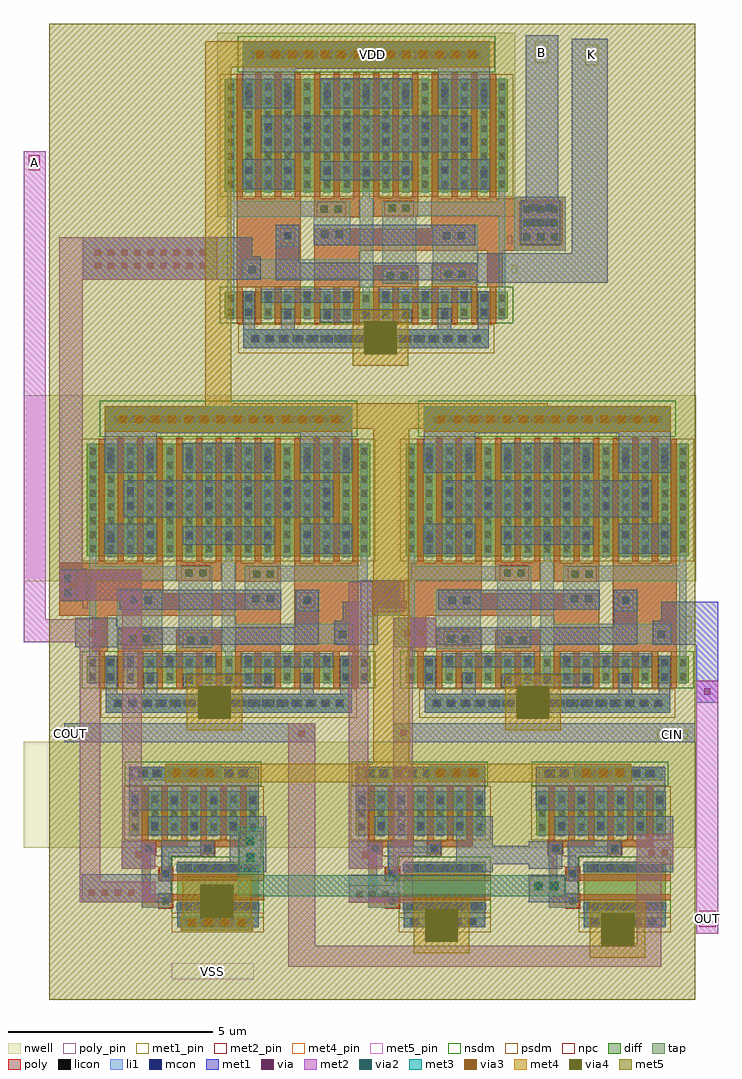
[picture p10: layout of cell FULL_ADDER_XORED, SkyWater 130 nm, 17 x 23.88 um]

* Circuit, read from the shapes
.subckt FULL_ADDER_XORED A B CIN COUT K OUT VDD VSS
XM1 VSS NAND2_5/A n1 VSS sky130_fd_pr__nfet_01v8 w=0.65 l=0.15
XM2 n2 n3 VSS VSS sky130_fd_pr__nfet_01v8 w=0.65 l=0.15 m=3
XM3 NAND2_4/A n1 n2 VSS sky130_fd_pr__nfet_01v8 w=0.65 l=0.15 m=3
XM4 n4 NAND2_5/A VSS VSS sky130_fd_pr__nfet_01v8 w=2 l=0.15
XM5 NAND2_3/B A n4 VSS sky130_fd_pr__nfet_01v8 w=2 l=0.15
XM6 n5 NAND2_5/A NAND2_4/A VSS sky130_fd_pr__nfet_01v8 w=0.65 l=0.15 m=3
XM7 VSS K n6 VSS sky130_fd_pr__nfet_01v8 w=0.65 l=0.15
XM8 n7 K VSS VSS sky130_fd_pr__nfet_01v8 w=0.65 l=0.15 m=3
XM9 VSS A n5 VSS sky130_fd_pr__nfet_01v8 w=0.65 l=0.15 m=3
XM10 NAND2_5/A B n7 VSS sky130_fd_pr__nfet_01v8 w=0.65 l=0.15 m=3
XM11 n3 A VSS VSS sky130_fd_pr__nfet_01v8 w=0.65 l=0.15
XM12 n8 n9 NAND2_5/A VSS sky130_fd_pr__nfet_01v8 w=0.65 l=0.15 m=3
XM13 n10 NAND2_4/A VSS VSS sky130_fd_pr__nfet_01v8 w=2 l=0.15
XM14 NAND2_3/A CIN n10 VSS sky130_fd_pr__nfet_01v8 w=2 l=0.15
XM15 VSS NAND2_4/A n11 VSS sky130_fd_pr__nfet_01v8 w=0.65 l=0.15
XM16 VSS n6 n8 VSS sky130_fd_pr__nfet_01v8 w=0.65 l=0.15 m=3
XM17 n12 n13 VSS VSS sky130_fd_pr__nfet_01v8 w=0.65 l=0.15 m=3
XM18 n9 B VSS VSS sky130_fd_pr__nfet_01v8 w=0.65 l=0.15
XM19 OUT n11 n12 VSS sky130_fd_pr__nfet_01v8 w=0.65 l=0.15 m=3
XM20 n14 NAND2_4/A OUT VSS sky130_fd_pr__nfet_01v8 w=0.65 l=0.15 m=3
XM21 n15 NAND2_3/A VSS VSS sky130_fd_pr__nfet_01v8 w=2 l=0.15
XM22 COUT NAND2_3/B n15 VSS sky130_fd_pr__nfet_01v8 w=2 l=0.15
XM23 VSS CIN n14 VSS sky130_fd_pr__nfet_01v8 w=0.65 l=0.15 m=3
XM24 n13 CIN VSS VSS sky130_fd_pr__nfet_01v8 w=0.65 l=0.15
XM25 VDD NAND2_5/A n1 VDD sky130_fd_pr__pfet_01v8 w=2.75 l=0.15
XM26 n16 NAND2_5/A VDD VDD sky130_fd_pr__pfet_01v8 w=2.75 l=0.15 m=3
XM27 NAND2_3/B NAND2_5/A VDD VDD sky130_fd_pr__pfet_01v8 w=1.07 l=0.15 m=3
XM28 NAND2_4/A n1 n16 VDD sky130_fd_pr__pfet_01v8 w=2.75 l=0.15 m=3
XM29 VDD A NAND2_3/B VDD sky130_fd_pr__pfet_01v8 w=1.07 l=0.15 m=3
XM30 n16 n3 NAND2_4/A VDD sky130_fd_pr__pfet_01v8 w=2.75 l=0.15 m=3
XM31 VDD K n6 VDD sky130_fd_pr__pfet_01v8 w=2.75 l=0.15
XM32 n17 K VDD VDD sky130_fd_pr__pfet_01v8 w=2.75 l=0.15 m=3
XM33 VDD A n16 VDD sky130_fd_pr__pfet_01v8 w=2.75 l=0.15 m=3
XM34 NAND2_5/A n6 n17 VDD sky130_fd_pr__pfet_01v8 w=2.75 l=0.15 m=3
XM35 n3 A VDD VDD sky130_fd_pr__pfet_01v8 w=2.75 l=0.15
XM36 NAND2_3/A NAND2_4/A VDD VDD sky130_fd_pr__pfet_01v8 w=1.07 l=0.15 m=3
XM37 n17 n9 NAND2_5/A VDD sky130_fd_pr__pfet_01v8 w=2.75 l=0.15 m=3
XM38 VDD NAND2_4/A n11 VDD sky130_fd_pr__pfet_01v8 w=2.75 l=0.15
XM39 VDD CIN NAND2_3/A VDD sky130_fd_pr__pfet_01v8 w=1.07 l=0.15 m=3
XM40 VDD B n17 VDD sky130_fd_pr__pfet_01v8 w=2.75 l=0.15 m=3
XM41 n18 NAND2_4/A VDD VDD sky130_fd_pr__pfet_01v8 w=2.75 l=0.15 m=3
XM42 n9 B VDD VDD sky130_fd_pr__pfet_01v8 w=2.75 l=0.15
XM43 OUT n11 n18 VDD sky130_fd_pr__pfet_01v8 w=2.75 l=0.15 m=3
XM44 COUT NAND2_3/A VDD VDD sky130_fd_pr__pfet_01v8 w=1.07 l=0.15 m=3
XM45 n18 n13 OUT VDD sky130_fd_pr__pfet_01v8 w=2.75 l=0.15 m=3
XM46 VDD NAND2_3/B COUT VDD sky130_fd_pr__pfet_01v8 w=1.07 l=0.15 m=3
XM47 VDD CIN n18 VDD sky130_fd_pr__pfet_01v8 w=2.75 l=0.15 m=3
XM48 n13 CIN VDD VDD sky130_fd_pr__pfet_01v8 w=2.75 l=0.15
.ends

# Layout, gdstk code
from math import pi, radians
import gdstk
lib = gdstk.Library(unit=1e-6, precision=1e-09)
def R(c, l, rs):  # rectangles x0, y0, x1, y1
    for r in rs: c.add(gdstk.rectangle(r[:2], r[2:], *l))
def A(c, l, x, y, w, h, nx, ny, dx, dy):  # array of equal rectangles
    R(c, l, [(x+i*dx, y+j*dy, x+i*dx+w, y+j*dy+h) for i in range(nx) for j in range(ny)])
nwell = (64, 20)
diff = (65, 20)
tap = (65, 44)
poly_pin = (66, 16)
poly = (66, 20)
licon = (66, 44)
li1 = (67, 20)
mcon = (67, 44)
met1_pin = (68, 16)
met1 = (68, 20)
via = (68, 44)
met2_pin = (69, 16)
met2 = (69, 20)
via2 = (69, 44)
met3 = (70, 20)
via3 = (70, 44)
met4_pin = (71, 16)
met4 = (71, 20)
via4 = (71, 44)
met5_pin = (72, 16)
met5 = (72, 20)
nsdm = (93, 44)
psdm = (94, 20)
npc = (95, 20)

xor2 = lib.new_cell('XOR2')
R(xor2, nwell, [(-0.435,4.32,6.855,8.82)])
R(xor2, diff, [(-0.255,1.835,6.675,2.485), (-0.255,4.935,6.675,7.685)])
R(xor2, tap, [(0.21,1.11,6.22,1.565), (0.185,7.98,6.235,8.61)])
R(xor2, poly_pin, [(-0.36,3.66,-0.24,3.86)])
A(xor2, poly, 0.495, 1.705, 0.15, 0.89, 12, 1, 0.48, 0)
A(xor2, poly, 0.495, 4.78, 0.15, 3.06, 3, 1, 0.48, 0)
A(xor2, poly, 3.375, 4.78, 0.15, 3.06, 6, 1, 0.48, 0)
A(xor2, poly, 1.935, 4.785, 0.15, 3.055, 3, 1, 0.48, 0)
R(xor2, poly, [(0.035,1.705,0.185,2.61), (6.235,1.705,6.385,2.595), (0.495,2.595,1.605,3.16), (1.935,2.595,3.045,3.135), (3.375,2.595,4.485,3.485), (4.815,2.595,6.385,4.78), (-0.13,2.61,0.25,3.485), (-0.435,3.485,4.485,4.03), (-0.13,4.03,1.615,4.78), (3.375,4.315,4.485,4.78), (1.935,4.32,3.045,4.785), (0.035,4.78,0.185,7.815), (6.235,4.78,6.385,7.815)])
A(xor2, licon, 0.415, 1.255, 0.17, 0.17, 17, 2, 0.34, 6.95)
A(xor2, licon, 0.245, 1.905, 0.17, 0.17, 13, 2, 0.48, 0.34)
A(xor2, licon, -0.195, 5.035, 0.17, 0.17, 1, 8, 0, 0.34)
A(xor2, licon, 0.245, 5.035, 0.17, 0.17, 13, 8, 0.48, 0.34)
A(xor2, licon, 6.445, 5.035, 0.17, 0.17, 1, 8, 0, 0.34)
R(xor2, licon, [(-0.195,1.905,-0.025,2.075), (6.445,1.905,6.615,2.075), (-0.195,2.245,-0.025,2.415), (6.445,2.245,6.615,2.415), (2.195,2.795,2.365,2.965), (2.535,2.795,2.705,2.965), (0.78,2.835,0.95,3.005), (1.12,2.835,1.29,3.005), (5.05,3.77,5.22,3.94), (3.81,4.415,3.98,4.585), (4.15,4.415,4.32,4.585), (2.155,4.44,2.325,4.61), (2.495,4.44,2.665,4.61)])
A(xor2, li1, 0.245, 1.815, 0.17, 0.69, 6, 1, 0.48, 0)
A(xor2, li1, 3.605, 1.815, 0.17, 0.69, 6, 1, 0.48, 0)
A(xor2, li1, 0.245, 4.915, 0.17, 2.79, 6, 1, 0.48, 0)
A(xor2, li1, 3.605, 4.915, 0.17, 2.79, 6, 1, 0.48, 0)
R(xor2, li1, [(0.21,1.11,6.22,1.565), (-0.195,1.815,-0.025,4.345), (3.125,1.815,3.295,2.63), (6.445,1.815,6.615,4.32), (3.045,2.63,3.375,2.8), (0.485,2.675,1.59,4.125), (1.99,2.685,2.815,4.345), (3.045,2.8,6.245,3.28), (3.045,3.28,3.375,4.78), (4.85,3.585,5.425,4.115), (3.605,3.62,4.49,4.32), (3.605,4.32,6.615,4.705), (-0.195,4.345,2.815,4.69), (-0.195,4.69,-0.025,7.705), (6.445,4.705,6.615,7.705), (3.125,4.78,3.295,7.705), (0.185,7.98,6.235,8.61)])
A(xor2, mcon, 0.435, 1.255, 0.17, 0.17, 16, 2, 0.36, 6.95)
A(xor2, mcon, 1.205, 1.825, 0.17, 0.17, 5, 1, 0.96, 0)
A(xor2, mcon, 3.605, 2.33, 0.17, 0.17, 3, 1, 0.96, 0)
A(xor2, mcon, 0.725, 6.09, 0.17, 0.17, 5, 2, 0.96, 0.36)
A(xor2, mcon, 3.125, 7.24, 0.17, 0.17, 4, 1, 0.96, 0)
R(xor2, mcon, [(0.245,1.895,0.415,2.065), (6.005,1.895,6.175,2.065), (0.245,2.255,0.415,2.425), (6.005,2.255,6.175,2.425), (2.645,2.325,2.815,2.495), (0.725,2.33,0.895,2.5), (1.685,2.33,1.855,2.5), (5.92,2.945,6.09,3.115), (0.8,3.77,0.97,3.94), (1.16,3.77,1.33,3.94), (5.05,3.77,5.22,3.94), (3.785,3.81,3.955,3.98), (4.145,3.81,4.315,3.98), (0.245,5.28,0.415,5.45), (3.125,5.31,3.295,5.48), (2.165,5.355,2.335,5.525), (4.085,5.355,4.255,5.525), (1.205,5.37,1.375,5.54), (5.045,5.37,5.215,5.54), (6.005,5.37,6.175,5.54), (5.525,6.085,5.695,6.255), (5.525,6.445,5.695,6.615), (2.165,7.245,2.335,7.415), (0.245,7.255,0.415,7.425), (1.205,7.255,1.375,7.425)])
R(xor2, met1_pin, [(1.84,1.28,2.31,1.41), (-0.47,2.94,-0.35,3.14), (6.48,3.08,6.74,3.47)])
R(xor2, met1, [(0.21,1.11,6.22,1.565), (0.21,1.565,0.485,2.505), (1.135,1.565,1.46,2.08), (4.965,1.565,5.29,2.075), (5.945,1.565,6.22,2.505), (2.1,1.735,4.335,2.055), (0.645,2.22,2.895,2.56), (3.525,2.22,5.775,2.56), (-0.545,2.71,0.48,2.77), (-0.545,2.77,5.42,3.2), (5.79,2.775,6.855,3.355), (-0.545,3.2,0.48,3.425), (4.845,3.2,5.42,4.12), (6,3.355,6.855,3.82), (0.55,3.625,4.495,4.12), (0.185,4.995,1.455,5.73), (4.965,4.995,6.235,5.73), (2.085,5.215,4.335,5.675), (0.645,5.895,5.775,6.79), (0.185,6.98,1.455,7.94), (2.085,6.98,4.335,7.715), (4.965,6.98,6.235,7.94), (0.185,7.94,6.235,8.61)])
A(xor2, via, 0.585, 8.215, 0.15, 0.15, 17, 1, 0.32, 0)
R(xor2, via, [(2.79,1.285,2.94,1.435)])
R(xor2, met2_pin, [(2.19,8.22,2.66,8.35)])
R(xor2, met2, [(2.66,1.155,3.07,1.565), (0.185,7.98,6.235,8.61)])
A(xor2, via2, 0.52, 8.19, 0.2, 0.2, 14, 1, 0.4, 0)
R(xor2, via2, [(2.765,1.26,2.965,1.46)])
R(xor2, met3, [(2.59,1.11,3.22,1.565), (0.185,7.98,6.235,8.61)])
A(xor2, via3, 0.52, 8.19, 0.2, 0.2, 14, 1, 0.4, 0)
R(xor2, via3, [(2.765,1.26,2.965,1.46)])
R(xor2, met4, [(2.185,0.68,3.545,2.04), (0.185,7.98,6.235,8.61)])
R(xor2, via4, [(2.465,0.96,3.265,1.76)])
R(xor2, met5, [(1.77,0.385,4.12,2.355)])
R(xor2, nsdm, [(-0.38,1.71,6.8,2.61), (0.06,7.855,6.36,8.735)])
R(xor2, psdm, [(0.085,0.985,6.345,1.69), (-0.38,4.81,6.8,7.81)])
R(xor2, npc, [(2.095,2.695,2.805,3.065), (0.68,2.735,1.39,3.105), (4.95,3.67,5.32,4.04), (3.71,4.315,4.42,4.685), (2.055,4.34,2.765,4.71)])
xor2.add(gdstk.Label('A', (-0.3,3.76), layer=66, texttype=16))
xor2.add(gdstk.Label('B', (-0.41,3.04), layer=68, texttype=16))
xor2.add(gdstk.Label('VSS', (2.075,1.345), layer=68, texttype=16))
xor2.add(gdstk.Label('VDD', (2.425,8.285), layer=68, texttype=16))
xor2.add(gdstk.Label('Y', (6.61,3.275), layer=68, texttype=16))

pmos_p2_w321_l015_f3 = lib.new_cell('pmos_p2-w321-L015-f3')
R(pmos_p2_w321_l015_f3, nwell, [(-1.765,-0.715,1.765,0.845)])
R(pmos_p2_w321_l015_f3, diff, [(-1.585,-0.535,1.585,0.535)])
A(pmos_p2_w321_l015_f3, poly, -1.275, -0.69, 0.15, 1.355, 6, 1, 0.48, 0)
R(pmos_p2_w321_l015_f3, poly, [(-1.275,0.665,-0.165,0.815), (0.165,0.665,1.275,0.815)])
A(pmos_p2_w321_l015_f3, licon, -1.525, -0.425, 0.17, 0.17, 7, 3, 0.48, 0.34)
A(pmos_p2_w321_l015_f3, li1, -1.525, -0.555, 0.17, 1.11, 7, 1, 0.48, 0)
A(pmos_p2_w321_l015_f3, mcon, -1.525, -0.39, 0.17, 0.17, 4, 1, 0.96, 0)
A(pmos_p2_w321_l015_f3, mcon, -1.045, 0.22, 0.17, 0.17, 3, 1, 0.96, 0)
R(pmos_p2_w321_l015_f3, met1, [(-1.585,-0.535,1.585,-0.075), (-1.125,0.075,1.585,0.535)])
R(pmos_p2_w321_l015_f3, psdm, [(-1.71,-0.66,1.71,0.66)])

nmos_2shared_w200_l015_f = lib.new_cell('nmos_2shared_W200-L015-F1')
R(nmos_2shared_w200_l015_f, diff, [(-0.625,-1,0.625,1)])
R(nmos_2shared_w200_l015_f, poly, [(-0.315,-1.13,-0.165,1.13), (0.165,-1.13,0.315,1.13)])
A(nmos_2shared_w200_l015_f, licon, -0.565, -0.935, 0.17, 0.17, 1, 6, 0, 0.34)
A(nmos_2shared_w200_l015_f, licon, 0.395, -0.935, 0.17, 0.17, 1, 6, 0, 0.34)
R(nmos_2shared_w200_l015_f, li1, [(-0.565,-1.02,-0.395,1.02), (0.395,-1.02,0.565,1.02)])
A(nmos_2shared_w200_l015_f, mcon, -0.565, -0.805, 0.17, 0.17, 1, 5, 0, 0.36)
A(nmos_2shared_w200_l015_f, mcon, 0.395, -0.805, 0.17, 0.17, 1, 5, 0, 0.36)
R(nmos_2shared_w200_l015_f, met1, [(-0.595,-1,-0.365,1), (0.365,-1,0.595,1)])
R(nmos_2shared_w200_l015_f, nsdm, [(-0.75,-1.125,0.75,1.125)])

nand2 = lib.new_cell('NAND2')
R(nand2, nwell, [(1.78,3.42,5.31,4.02)])
R(nand2, diff, [(3.13,0.27,5.13,0.3), (4.97,0.73,4.98,0.74)])
R(nand2, tap, [(3.13,-0.085,5.13,0.27), (1.98,3.51,5.065,3.84)])
R(nand2, poly, [(2.265,0.395,3.02,0.73), (2.265,0.73,2.48,1.705), (2.69,1.06,3.57,1.21), (2.69,1.21,3.02,1.395), (2.265,1.705,2.6,2.04), (3.71,1.705,4.045,2.04)])
A(nand2, licon, 3.335, -0.03, 0.17, 0.17, 5, 1, 0.34, 0)
A(nand2, licon, 2.245, 3.6, 0.17, 0.17, 8, 1, 0.34, 0)
R(nand2, licon, [(2.77,0.475,2.94,0.645), (2.77,1.14,2.94,1.31), (2.35,1.76,2.52,1.93), (3.795,1.76,3.965,1.93)])
R(nand2, li1, [(3.13,-0.03,5.13,0.14), (2.265,0.395,2.94,0.73), (2.265,0.73,2.48,1.76), (2.77,1.06,2.94,1.735), (2.77,1.735,4.045,1.905), (2.265,1.76,2.6,1.935), (3.71,1.905,4.045,1.935), (2.02,3.57,5.065,3.805)])
A(nand2, mcon, 3.295, -0.03, 0.17, 0.17, 5, 1, 0.36, 0)
A(nand2, mcon, 2.175, 3.6, 0.17, 0.17, 8, 1, 0.36, 0)
R(nand2, mcon, [(2.77,1.14,2.94,1.31), (2.35,1.76,2.52,1.93), (3.795,1.76,3.965,1.93)])
R(nand2, met1, [(3.13,-0.085,5.13,0.525), (1.78,0.525,2.99,1.205), (2.74,1.205,2.99,1.66), (3.13,1.26,5.31,1.52), (1.78,1.35,2.6,2.025), (4.42,1.52,5.31,2.17), (2.74,1.66,4.04,2.03), (2.425,2.17,5.31,2.63), (1.955,2.775,5.125,3.84)])
R(nand2, nsdm, [(3.005,0.27,5.255,0.425), (4.845,0.425,5.105,0.865), (1.855,3.385,5.19,3.965)])
R(nand2, psdm, [(3.005,-0.21,5.255,0.27)])
R(nand2, npc, [(2.67,0.375,3.04,0.745), (2.67,1.04,3.04,1.4), (2.35,1.4,3.04,1.41), (2.35,1.41,2.94,1.66), (2.25,1.66,2.94,1.67), (3.695,1.66,4.065,2.03), (2.25,1.67,2.62,2.03)])
nand2.add(gdstk.Reference(pmos_p2_w321_l015_f3, (3.545,2.705), x_reflection=True))
nand2.add(gdstk.Reference(nmos_2shared_w200_l015_f, (4.13,0.895), rotation=3*pi/2))
nand2.add(gdstk.Label('A', (1.78,1.705), layer=68, texttype=16))
nand2.add(gdstk.Label('B', (1.78,0.865), layer=68, texttype=16))
nand2.add(gdstk.Label('VSS', (4.13,0.27), layer=68, texttype=16))
nand2.add(gdstk.Label('VDD', (3.545,3.42), layer=68, texttype=16))
nand2.add(gdstk.Label('Y', (5.31,2.255), layer=68, texttype=16))

full_adder_xored = lib.new_cell('FULL_ADDER_XORED')
R(full_adder_xored, nwell, [(-1.46,-3.395,14.995,-0.795), (-1.46,3.125,14.995,7.68)])
R(full_adder_xored, poly, [(-0.59,2.29,0.37,3.585), (7.065,2.29,8.645,3.15), (8.52,11.21,11.755,11.215), (8.52,11.215,11.805,12.505), (10.55,12.505,11.805,12.53)])
A(full_adder_xored, licon, 10.765, 11.47, 0.17, 0.17, 3, 3, 0.34, 0.34)
R(full_adder_xored, licon, [(7.385,2.47,7.555,2.64), (-0.465,2.77,-0.295,2.94), (7.385,2.81,7.555,2.98), (-0.465,3.11,-0.295,3.28)])
R(full_adder_xored, li1, [(7.195,2.29,7.74,3.15), (6.79,2.475,6.96,2.555), (6.79,2.555,6.915,3.04), (-0.585,2.65,-0.16,3.415), (6.79,3.04,6.96,3.125), (10.55,11.215,11.805,12.53)])
R(full_adder_xored, mcon, [(7.385,2.73,7.555,2.9), (-0.465,2.76,-0.295,2.93), (-0.465,3.12,-0.295,3.29), (10.96,11.82,11.13,11.99), (11.32,11.82,11.49,11.99), (10.96,12.18,11.13,12.35), (11.32,12.18,11.49,12.35)])
R(full_adder_xored, met1_pin, [(-0.4,-0.76,-0.22,-0.41), (14.04,-0.72,14.79,-0.5), (12.28,15.75,12.6,16.26), (11.06,15.82,11.38,16.33)])
R(full_adder_xored, met1, [(12.88,-5.6,13.27,-5.21), (8.555,-5.505,8.975,-5.08), (2.385,-5.42,4.15,-5.05), (8.61,-5.08,8.92,-4.985), (-0.035,-4.73,1.92,-4.045), (6.61,-4.685,7.535,-4.385), (10.97,-4.515,11.695,-4.14), (0.945,-3.905,1.765,-3.23), (6.49,-3.905,7.31,-3.255), (3.88,-3.8,4.295,-3.06), (9.13,-3.795,11.215,-3.345), (13.765,-3.71,14.365,-3.31), (2.005,-1.79,3.375,-1.34), (8.45,-1.79,9.82,-1.34), (12.035,-1.79,13.405,-1.34), (-0.465,-0.805,5.675,-0.35), (7.59,-0.805,14.975,-0.35), (14.995,0.155,15.54,1.58), (7.595,1.515,8.62,2.23), (14.31,1.58,15.54,2.625), (0.02,1.595,0.4,2.135), (6.78,2.475,7.74,3.125), (-0.585,2.65,0.09,3.42), (6.785,3.125,7.74,3.15), (9.655,10.435,12.83,11.15), (-0.015,10.5,3.28,11.545), (11.955,11.15,12.83,16.405), (10.71,11.345,11.67,12.445), (10.83,12.445,11.62,16.485)])
A(full_adder_xored, via, 2.55, -5.32, 0.15, 0.15, 5, 1, 0.32, 0)
A(full_adder_xored, via, 6.675, -4.61, 0.15, 0.15, 3, 1, 0.32, 0)
A(full_adder_xored, via, 0.135, -4.57, 0.15, 0.15, 4, 1, 0.32, 0)
A(full_adder_xored, via, 2.135, -1.64, 0.15, 0.15, 4, 1, 0.32, 0)
A(full_adder_xored, via, 8.58, -1.64, 0.15, 0.15, 4, 1, 0.32, 0)
A(full_adder_xored, via, 12.165, -1.64, 0.15, 0.15, 4, 1, 0.32, 0)
A(full_adder_xored, via, 0.285, 10.77, 0.15, 0.15, 9, 2, 0.32, 0.32)
R(full_adder_xored, via, [(13,-5.48,13.15,-5.33), (8.69,-5.37,8.84,-5.22), (11.095,-4.405,11.245,-4.255), (11.415,-4.405,11.565,-4.255), (4.01,-3.665,4.16,-3.515), (6.83,-3.645,6.98,-3.495), (1.275,-3.64,1.425,-3.49), (13.83,-3.585,13.98,-3.435), (14.15,-3.585,14.3,-3.435), (4.01,-3.345,4.16,-3.195), (5.27,-0.68,5.42,-0.53), (7.76,-0.65,7.91,-0.5), (15.19,0.355,15.34,0.505), (7.85,1.78,8,1.93), (8.17,1.78,8.32,1.93), (0.135,1.79,0.285,1.94), (7.055,2.72,7.205,2.87), (7.375,2.72,7.525,2.87), (-0.315,2.955,-0.165,3.105)])
R(full_adder_xored, met2_pin, [(15.07,-5.33,15.47,-4.93), (-1.34,13.19,-1.07,13.55)])
R(full_adder_xored, met2, [(5.02,-6.3,14.14,-5.79), (5.02,-5.79,5.675,-0.35), (13.54,-5.79,14.14,-3.795), (12.88,-5.6,13.27,-5.21), (8.555,-5.505,8.975,-5.08), (14.995,-5.495,15.54,0.69), (2.385,-5.42,4.15,-5.05), (6.49,-4.735,8.065,-4.31), (-0.09,-4.725,1.765,-4.23), (10.91,-4.575,11.785,-4.085), (7.59,-4.31,8.065,1.515), (-0.09,-4.23,0.415,1.595), (0.945,-3.905,1.765,-3.23), (6.49,-3.905,7.31,-3.255), (3.815,-3.86,4.36,-2.985), (13.54,-3.795,14.43,-3.055), (6.495,-3.255,6.975,2.38), (0.95,-3.23,1.43,2.65), (2.005,-1.79,3.375,-1.34), (8.45,-1.79,9.82,-1.34), (12.035,-1.79,13.405,-1.34), (7.59,1.515,8.62,2.23), (-0.09,1.595,0.47,1.635), (-1.46,1.635,0.47,2.195), (-1.46,2.195,0.325,2.2), (-1.46,2.2,-0.915,13.655), (6.495,2.38,7.855,3.12), (-0.585,2.645,-0.015,2.65), (-0.585,2.65,1.43,3.415), (-0.585,3.415,-0.015,10.5), (-0.585,10.5,3.28,11.545)])
A(full_adder_xored, via2, 2.565, -5.335, 0.2, 0.2, 4, 1, 0.4, 0)
A(full_adder_xored, via2, 2.19, -1.665, 0.2, 0.2, 3, 1, 0.4, 0)
A(full_adder_xored, via2, 8.635, -1.665, 0.2, 0.2, 3, 1, 0.4, 0)
A(full_adder_xored, via2, 12.22, -1.665, 0.2, 0.2, 3, 1, 0.4, 0)
R(full_adder_xored, via2, [(12.975,-5.505,13.175,-5.305), (8.665,-5.395,8.865,-5.195), (11.03,-4.43,11.23,-4.23), (11.43,-4.43,11.63,-4.23), (3.985,-3.73,4.185,-3.53), (3.985,-3.33,4.185,-3.13)])
R(full_adder_xored, met3, [(12.82,-5.66,13.335,-5.17), (8.485,-5.53,9.045,-5.045), (2.385,-5.42,4.15,-5.05), (3.795,-4.575,11.8,-4.065), (3.795,-4.065,4.405,-2.895), (2.005,-1.79,3.375,-1.34), (8.45,-1.79,9.82,-1.34), (12.035,-1.79,13.405,-1.34)])
A(full_adder_xored, via3, 2.565, -5.315, 0.2, 0.2, 4, 1, 0.4, 0)
A(full_adder_xored, via3, 2.19, -1.665, 0.2, 0.2, 3, 1, 0.4, 0)
A(full_adder_xored, via3, 8.635, -1.665, 0.2, 0.2, 3, 1, 0.4, 0)
A(full_adder_xored, via3, 12.22, -1.665, 0.2, 0.2, 3, 1, 0.4, 0)
R(full_adder_xored, via3, [(12.975,-5.505,13.175,-5.305), (8.665,-5.395,8.865,-5.195)])
R(full_adder_xored, met4_pin, [(6.075,15.82,8.08,16.205)])
R(full_adder_xored, met4, [(12.395,-6.085,13.755,-4.725), (8.085,-5.975,9.445,-4.615), (2.385,-5.42,4.15,-5.05), (2.43,-5.05,4.105,-4.105), (2.005,-1.79,13.405,-1.34), (7.09,-1.34,7.98,6.855), (2.985,6.855,11.36,7.485), (2.985,7.485,3.615,15.705), (2.985,15.705,3.91,15.71), (2.985,15.71,10.055,16.325), (2.985,16.325,3.91,16.335), (4.455,16.325,10.055,16.33)])
R(full_adder_xored, via4, [(12.675,-5.805,13.475,-5.005), (8.365,-5.695,9.165,-4.895), (2.865,-5.095,3.665,-4.295)])
R(full_adder_xored, met5_pin, [(2.165,-6.605,4.17,-6.22)])
R(full_adder_xored, met5, [(-0.83,-7.105,14.97,16.775)])
R(full_adder_xored, npc, [(7.285,2.37,7.655,3.08), (-0.565,2.67,-0.195,3.38), (10.665,11.37,11.715,12.42)])
full_adder_xored.add(gdstk.Reference(xor2, (10.135,7.725), rotation=pi, x_reflection=True))
full_adder_xored.add(gdstk.Reference(xor2, (8.14,-1.195)))
full_adder_xored.add(gdstk.Reference(xor2, (0.345,-1.195)))
full_adder_xored.add(gdstk.Reference(nand2, (9.12,-5.255)))
full_adder_xored.add(gdstk.Reference(nand2, (4.71,-5.255)))
full_adder_xored.add(gdstk.Reference(nand2, (-0.835,-5.255)))
full_adder_xored.add(gdstk.Label('A', (-1.205,13.37), layer=69, texttype=16))
full_adder_xored.add(gdstk.Label('B', (11.22,16.075), layer=68, texttype=16))
full_adder_xored.add(gdstk.Label('K', (12.44,16.005), layer=68, texttype=16))
full_adder_xored.add(gdstk.Label('COUT', (-0.31,-0.585), layer=68, texttype=16))
full_adder_xored.add(gdstk.Label('OUT', (15.27,-5.13), layer=69, texttype=16))
full_adder_xored.add(gdstk.Label('CIN', (14.415,-0.61), layer=68, texttype=16))
full_adder_xored.add(gdstk.Label('VDD', (7.077,16.012), layer=71, texttype=16))
full_adder_xored.add(gdstk.Label('VSS', (3.167,-6.412), layer=72, texttype=16))

lib.write_gds('FULL_ADDER_XORED.gds')
